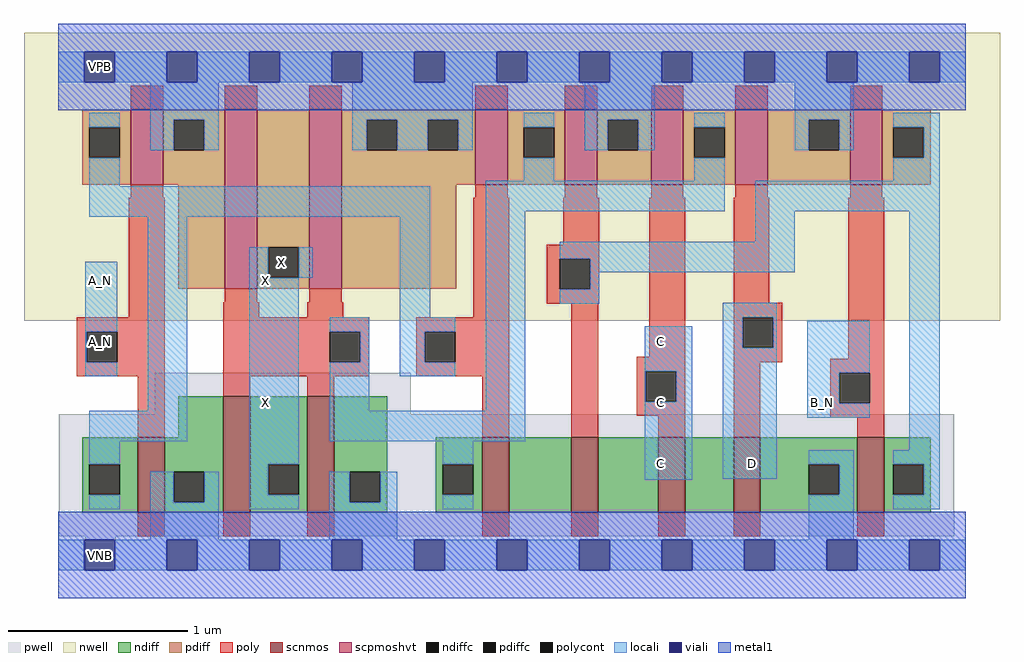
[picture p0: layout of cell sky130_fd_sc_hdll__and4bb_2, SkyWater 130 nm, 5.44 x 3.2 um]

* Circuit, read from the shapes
.subckt sky130_fd_sc_hdll__and4bb_2 A_N B_N C D VGND VNB VPB VPWR X
XM1 VGND A_N n1 VNB sky130_fd_pr__nfet_01v8 w=0.42 l=0.15
XM2 X n2 VGND VNB sky130_fd_pr__nfet_01v8 w=0.65 l=0.15 m=2
XM3 n3 n1 n2 VNB sky130_fd_pr__nfet_01v8 w=0.42 l=0.15
XM4 n4 n5 n3 VNB sky130_fd_pr__nfet_01v8 w=0.42 l=0.15
XM5 n6 C n4 VNB sky130_fd_pr__nfet_01v8 w=0.42 l=0.15
XM6 VGND D n6 VNB sky130_fd_pr__nfet_01v8 w=0.42 l=0.15
XM7 n5 B_N VGND VNB sky130_fd_pr__nfet_01v8 w=0.42 l=0.15
XM8 VPWR A_N n1 VPB sky130_fd_pr__pfet_01v8_hvt w=0.42 l=0.18
XM9 X n2 VPWR VPB sky130_fd_pr__pfet_01v8_hvt w=1 l=0.18 m=2
XM10 n2 n1 VPWR VPB sky130_fd_pr__pfet_01v8_hvt w=0.42 l=0.18
XM11 VPWR n5 n2 VPB sky130_fd_pr__pfet_01v8_hvt w=0.42 l=0.18
XM12 n2 C VPWR VPB sky130_fd_pr__pfet_01v8_hvt w=0.42 l=0.18
XM13 VPWR D n2 VPB sky130_fd_pr__pfet_01v8_hvt w=0.42 l=0.18
XM14 n5 B_N VPWR VPB sky130_fd_pr__pfet_01v8_hvt w=0.42 l=0.18
.ends

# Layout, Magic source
magic
tech sky130A
magscale 1 2
<< nwell >>
rect -38 261 1050 582
<< pwell >>
rect 108 157 393 203
rect 1 21 999 157
rect 30 -17 64 21
<< scnmos >>
rect 89 47 119 131
rect 184 47 214 177
rect 278 47 308 177
rect 473 47 503 131
rect 572 47 602 131
rect 669 47 699 131
rect 753 47 783 131
rect 891 47 921 131
<< scpmoshvt >>
rect 81 413 117 497
rect 186 297 222 497
rect 280 297 316 497
rect 465 413 501 497
rect 565 413 601 497
rect 661 413 697 497
rect 755 413 791 497
rect 883 413 919 497
<< ndiff >>
rect 134 131 184 177
rect 27 101 89 131
rect 27 67 35 101
rect 69 67 89 101
rect 27 47 89 67
rect 119 93 184 131
rect 119 59 129 93
rect 163 59 184 93
rect 119 47 184 59
rect 214 101 278 177
rect 214 67 234 101
rect 268 67 278 101
rect 214 47 278 67
rect 308 93 367 177
rect 308 59 325 93
rect 359 59 367 93
rect 308 47 367 59
rect 421 101 473 131
rect 421 67 429 101
rect 463 67 473 101
rect 421 47 473 67
rect 503 47 572 131
rect 602 47 669 131
rect 699 47 753 131
rect 783 101 891 131
rect 783 67 837 101
rect 871 67 891 101
rect 783 47 891 67
rect 921 101 973 131
rect 921 67 931 101
rect 965 67 973 101
rect 921 47 973 67
<< pdiff >>
rect 27 477 81 497
rect 27 443 35 477
rect 69 443 81 477
rect 27 413 81 443
rect 117 485 186 497
rect 117 451 129 485
rect 163 451 186 485
rect 117 413 186 451
rect 134 297 186 413
rect 222 343 280 497
rect 222 309 234 343
rect 268 309 280 343
rect 222 297 280 309
rect 316 485 465 497
rect 316 451 344 485
rect 378 451 412 485
rect 446 451 465 485
rect 316 413 465 451
rect 501 477 565 497
rect 501 443 519 477
rect 553 443 565 477
rect 501 413 565 443
rect 601 485 661 497
rect 601 451 613 485
rect 647 451 661 485
rect 601 413 661 451
rect 697 477 755 497
rect 697 443 709 477
rect 743 443 755 477
rect 697 413 755 443
rect 791 485 883 497
rect 791 451 837 485
rect 871 451 883 485
rect 791 413 883 451
rect 919 477 973 497
rect 919 443 931 477
rect 965 443 973 477
rect 919 413 973 443
rect 316 297 444 413
<< ndiffc >>
rect 35 67 69 101
rect 129 59 163 93
rect 234 67 268 101
rect 325 59 359 93
rect 429 67 463 101
rect 837 67 871 101
rect 931 67 965 101
<< pdiffc >>
rect 35 443 69 477
rect 129 451 163 485
rect 234 309 268 343
rect 344 451 378 485
rect 412 451 446 485
rect 519 443 553 477
rect 613 451 647 485
rect 709 443 743 477
rect 837 451 871 485
rect 931 443 965 477
<< poly >>
rect 81 497 117 523
rect 186 497 222 523
rect 280 497 316 523
rect 465 497 501 523
rect 565 497 601 523
rect 661 497 697 523
rect 755 497 791 523
rect 883 497 919 523
rect 81 398 117 413
rect 79 265 119 398
rect 465 398 501 413
rect 565 398 601 413
rect 661 398 697 413
rect 755 398 791 413
rect 883 398 919 413
rect 186 282 222 297
rect 280 282 316 297
rect 21 249 119 265
rect 21 215 32 249
rect 66 215 119 249
rect 21 199 119 215
rect 89 131 119 199
rect 184 265 224 282
rect 278 265 318 282
rect 463 265 503 398
rect 563 346 603 398
rect 545 330 603 346
rect 545 296 559 330
rect 593 296 603 330
rect 545 280 603 296
rect 184 249 347 265
rect 184 215 303 249
rect 337 215 347 249
rect 184 199 347 215
rect 399 249 503 265
rect 399 215 409 249
rect 443 215 503 249
rect 399 199 503 215
rect 184 177 214 199
rect 278 177 308 199
rect 473 131 503 199
rect 572 131 602 280
rect 659 221 699 398
rect 645 205 699 221
rect 645 171 655 205
rect 689 171 699 205
rect 645 155 699 171
rect 669 131 699 155
rect 753 281 793 398
rect 753 265 807 281
rect 753 231 763 265
rect 797 231 807 265
rect 753 215 807 231
rect 881 219 921 398
rect 753 131 783 215
rect 861 203 921 219
rect 861 169 871 203
rect 905 169 921 203
rect 861 153 921 169
rect 891 131 921 153
rect 89 21 119 47
rect 184 21 214 47
rect 278 21 308 47
rect 473 21 503 47
rect 572 21 602 47
rect 669 21 699 47
rect 753 21 783 47
rect 891 21 921 47
<< polycont >>
rect 32 215 66 249
rect 559 296 593 330
rect 303 215 337 249
rect 409 215 443 249
rect 655 171 689 205
rect 763 231 797 265
rect 871 169 905 203
<< locali >>
rect 0 527 29 561
rect 63 527 121 561
rect 155 527 213 561
rect 247 527 305 561
rect 339 527 397 561
rect 431 527 489 561
rect 523 527 581 561
rect 615 527 673 561
rect 707 527 765 561
rect 799 527 857 561
rect 891 527 949 561
rect 983 527 1012 561
rect 35 477 69 493
rect 103 485 179 527
rect 103 451 129 485
rect 163 451 179 485
rect 328 485 462 527
rect 328 451 344 485
rect 378 451 412 485
rect 446 451 462 485
rect 519 477 553 493
rect 35 411 69 443
rect 587 485 665 527
rect 587 451 613 485
rect 647 451 665 485
rect 709 477 743 493
rect 519 417 553 443
rect 821 485 887 527
rect 821 451 837 485
rect 871 451 887 485
rect 931 477 983 493
rect 709 417 743 443
rect 965 443 983 477
rect 931 417 983 443
rect 35 377 415 411
rect 30 249 66 327
rect 30 215 32 249
rect 30 199 66 215
rect 100 161 144 377
rect 35 127 144 161
rect 213 309 234 343
rect 268 309 284 343
rect 35 101 69 127
rect 213 101 268 309
rect 381 265 415 377
rect 477 383 743 417
rect 777 383 983 417
rect 303 249 347 265
rect 337 215 347 249
rect 303 161 347 215
rect 381 249 443 265
rect 381 215 409 249
rect 381 199 443 215
rect 477 161 521 383
rect 777 349 821 383
rect 559 330 821 349
rect 593 315 821 330
rect 593 296 603 315
rect 559 280 603 296
rect 741 265 801 281
rect 303 127 521 161
rect 654 205 707 255
rect 654 171 655 205
rect 689 171 707 205
rect 35 51 69 67
rect 103 59 129 93
rect 163 59 179 93
rect 103 17 179 59
rect 213 67 234 101
rect 429 101 463 127
rect 213 51 268 67
rect 302 59 325 93
rect 359 59 378 93
rect 302 17 378 59
rect 654 84 707 171
rect 741 231 763 265
rect 797 231 801 265
rect 741 85 801 231
rect 835 203 905 261
rect 835 169 871 203
rect 835 153 905 169
rect 949 117 983 383
rect 837 101 887 117
rect 429 51 463 67
rect 871 67 887 101
rect 837 17 887 67
rect 931 101 983 117
rect 965 67 983 101
rect 931 51 983 67
rect 0 -17 29 17
rect 63 -17 121 17
rect 155 -17 213 17
rect 247 -17 305 17
rect 339 -17 397 17
rect 431 -17 489 17
rect 523 -17 581 17
rect 615 -17 673 17
rect 707 -17 765 17
rect 799 -17 857 17
rect 891 -17 949 17
rect 983 -17 1012 17
<< viali >>
rect 29 527 63 561
rect 121 527 155 561
rect 213 527 247 561
rect 305 527 339 561
rect 397 527 431 561
rect 489 527 523 561
rect 581 527 615 561
rect 673 527 707 561
rect 765 527 799 561
rect 857 527 891 561
rect 949 527 983 561
rect 29 -17 63 17
rect 121 -17 155 17
rect 213 -17 247 17
rect 305 -17 339 17
rect 397 -17 431 17
rect 489 -17 523 17
rect 581 -17 615 17
rect 673 -17 707 17
rect 765 -17 799 17
rect 857 -17 891 17
rect 949 -17 983 17
<< metal1 >>
rect 0 561 1012 592
rect 0 527 29 561
rect 63 527 121 561
rect 155 527 213 561
rect 247 527 305 561
rect 339 527 397 561
rect 431 527 489 561
rect 523 527 581 561
rect 615 527 673 561
rect 707 527 765 561
rect 799 527 857 561
rect 891 527 949 561
rect 983 527 1012 561
rect 0 496 1012 527
rect 0 17 1012 48
rect 0 -17 29 17
rect 63 -17 121 17
rect 155 -17 213 17
rect 247 -17 305 17
rect 339 -17 397 17
rect 431 -17 489 17
rect 523 -17 581 17
rect 615 -17 673 17
rect 707 -17 765 17
rect 799 -17 857 17
rect 891 -17 949 17
rect 983 -17 1012 17
rect 0 -48 1012 -17
<< labels >>
flabel pwell s 30 -17 64 17 0 FreeSans 200 0 0 0 VNB
port 6 nsew ground bidirectional
flabel nwell s 30 527 64 561 0 FreeSans 200 0 0 0 VPB
port 7 nsew power bidirectional
flabel metal1 s 30 -17 64 17 0 FreeSans 200 0 0 0 VGND
port 5 nsew ground bidirectional
flabel metal1 s 30 527 64 561 0 FreeSans 200 0 0 0 VPWR
port 8 nsew power bidirectional
flabel locali s 30 289 64 323 0 FreeSans 200 0 0 0 A_N
port 1 nsew signal input
flabel locali s 654 85 688 119 0 FreeSans 200 0 0 0 C
port 3 nsew signal input
flabel locali s 835 153 869 187 0 FreeSans 200 0 0 0 B_N
port 2 nsew signal input
flabel locali s 654 153 688 187 0 FreeSans 200 0 0 0 C
port 3 nsew signal input
flabel locali s 213 309 284 343 0 FreeSans 200 0 0 0 X
port 9 nsew signal output
flabel locali s 231 306 231 306 0 FreeSans 200 0 0 0 X
port 9 nsew
flabel locali s 654 221 688 255 0 FreeSans 200 0 0 0 C
port 3 nsew signal input
flabel locali s 30 221 64 255 0 FreeSans 200 0 0 0 A_N
port 1 nsew signal input
flabel locali s 231 170 231 170 0 FreeSans 200 0 0 0 X
port 9 nsew
flabel locali s 757 85 791 119 0 FreeSans 200 0 0 0 D
port 4 nsew signal input
rlabel comment s 0 0 0 0 4 and4bb_2
rlabel locali s 213 51 268 309 1 X
port 9 nsew signal output
<< properties >>
string LEFsite unithd
string LEFclass CORE
string FIXED_BBOX 0 0 1012 544
string GDS_FILE $PDKPATH/libs.ref/sky130_fd_sc_hdll/gds/sky130_fd_sc_hdll.gds
string LEFsymmetry X Y R90
string GDS_END 1888528
string GDS_START 1880336
string LEFproperties maskLayoutSubType "abstract" prCellType "standard" originalViewName "layout"
<< end >>
